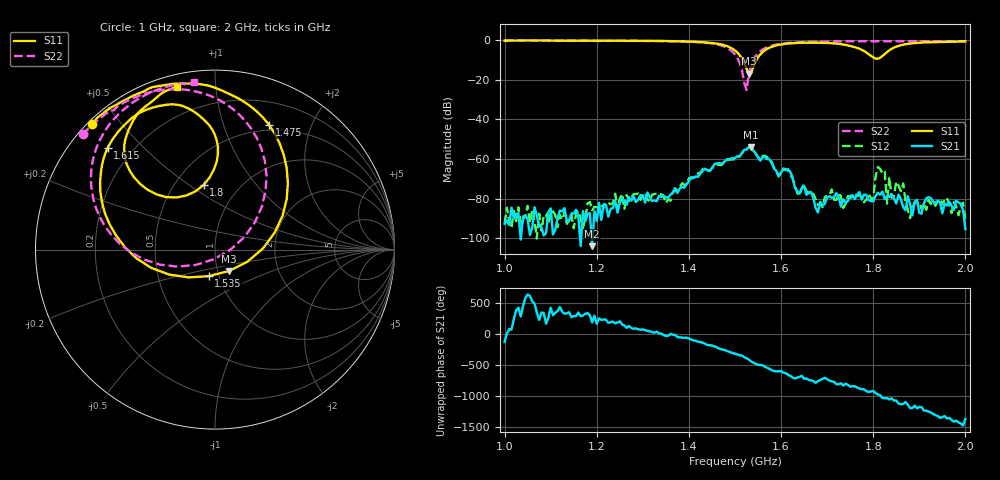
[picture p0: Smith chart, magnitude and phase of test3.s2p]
# Hz S RI R 50
! CMT, C1220, 16058040, 17.2.0/1
! Date: 14/08/2018 11:31:02
! Data: Format (Calibration Info)
! Freq  S11: Re/Im (F2)  S21: Re/Im (F2)  S12: Re/Im (F2)  S22: Re/Im (F2)
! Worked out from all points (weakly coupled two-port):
!   201 points, 1 GHz to 2 GHz, reference 50 ohm
!   highest |S21| = -54.04 dB at 1.535 GHz (marker M1); lowest = -104.0 dB at 1.19 GHz (marker M2)
!   lowest |S11| = -17.0 dB at 1.53 GHz (marker M3), VSWR 1.33, Z = 56.4 - j13.8 ohm
!   |S11| at or under -10 dB: 1.517 GHz to 1.547 GHz (29.99 MHz wide, 1.96 % of centre)
!   |S22| runs from -25.2 to -0.2 dB; largest |S21 - S12| = 0.0005
!   S11 on the Smith chart (normalised r, x): 1 GHz: 0.01, +0.42; 1.475 GHz: 0.44, +1.43; 1.535 GHz: 0.89, -0.27; 1.615 GHz: 0.11, +0.39; 1.8 GHz: 0.69, +0.57; 2 GHz: 0.06, +0.79
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1e9  -0.6867 0.6974  -1.63e-05 -1.64e-05  -1.65e-05 1.72e-05  -0.738 0.6414
1.17e9  -0.5299 0.8186  1.85e-05 -4.43e-05  3.75e-06 -1.76e-05  -0.5965 0.7643
1.19e9  -0.5055 0.8315  -6.27e-06 1.91e-09  1.52e-05 -4.84e-05  -0.5724 0.7749
1.335e9  -0.2818 0.9162  0.000116 1.26e-05  0.000123 3.64e-05  -0.3771 0.8722
1.475e9  0.3016 0.6945  -0.000121 0.000799  -0.000186 0.00076  0.202 0.6735
1.5e9  0.406 0.3713  0.000881 0.000586  0.000793 0.000565  0.2825 0.3305
1.525e9  0.1801 -0.0678  0.00136 -0.00105  0.00141 -0.00109  -0.00818 -0.0545
1.53e9  0.0759 -0.1201  0.00099 -0.0017  0.000978 -0.00172  -0.1086 -0.0856
1.535e9  -0.0343 -0.1479  7.03e-05 -0.00198  4.44e-05 -0.00199  -0.2098 -0.0948
1.595e9  -0.637 0.4178  -0.000129 0.000343  -0.000123 0.00034  -0.6914 0.3935
1.615e9  -0.5986 0.5656  0.000298 0.000467  0.000303 0.000424  -0.6768 0.5133
1.64e9  -0.5116 0.6872  0.000125 4.6e-05  0.000108 5.52e-05  -0.6382 0.6166
1.67e9  -0.3982 0.7725  7.03e-05 -7.38e-05  8.66e-05 -0.0001  -0.5875 0.6984
1.8e9  -0.0634 0.3605  -7.6e-05 3.68e-05  2.58e-05 -9.28e-05  -0.3841 0.8633
1.81e9  -0.1574 0.3022  -2.08e-05 0.000139  -0.00015 0.00061  -0.3707 0.8698
1.825e9  -0.3254 0.3075  7.98e-05 5.54e-05  0.000315 0.000359  -0.3494 0.8792
1.83e9  -0.3754 0.3333  8.85e-05 7.42e-05  -1.28e-05 7.31e-05  -0.3426 0.8822
1.835e9  -0.4171 0.3661  0.000105 3.09e-05  0.000301 0.000176  -0.3361 0.8851
1.84e9  -0.4511 0.4028  0.000106 7.15e-05  9.76e-05 3.72e-05  -0.3293 0.8876
1.85e9  -0.4934 0.4797  7.51e-05 -1.7e-06  6.48e-05 -0.00026  -0.3154 0.8927
1.87e9  -0.4997 0.6142  4.57e-05 -2.23e-05  -4.14e-05 -7.35e-05  -0.2881 0.9022
2e9  -0.2128 0.9076  7.73e-06 1.51e-05  1.65e-05 -2.21e-05  -0.1182 0.9332
